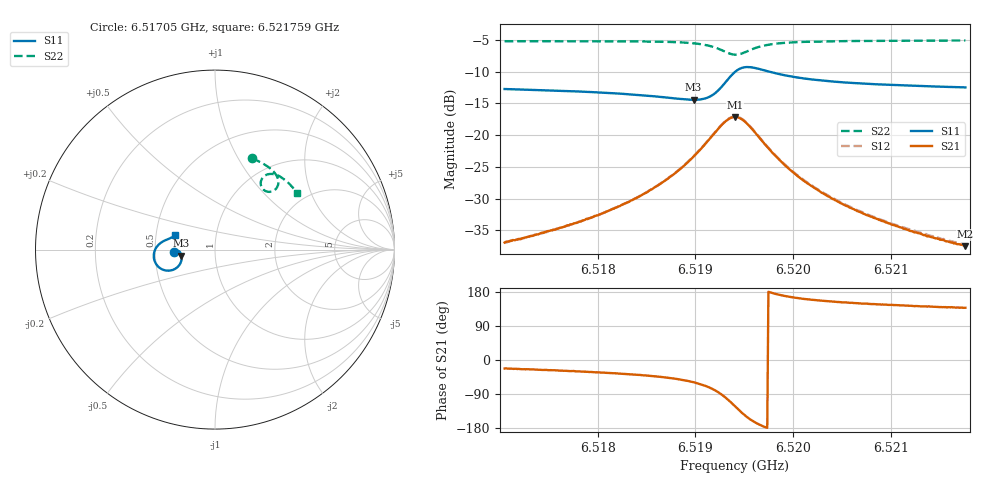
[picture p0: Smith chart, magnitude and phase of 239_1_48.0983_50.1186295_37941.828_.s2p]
#  HZ  S  RI  R  50.00
! Rohde & Schwarz Vector Network Analyzer
! Rohde-Schwarz,ZNB20-2Port,1311601062101988,3.16
! Created: UTC 12/23/2023, 3:58:33 AM
! freq[Hz]  re:S11  im:S11  re:S21  im:S21  re:S12  im:S12  re:S22  im:S22
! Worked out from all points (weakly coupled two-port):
!   401 points, 6.51705 GHz to 6.521759 GHz, reference 50 ohm
!   highest |S21| = -17.15 dB at 6.519404 GHz (marker M1); lowest = -37.5 dB at 6.521759 GHz (marker M2)
!   lowest |S11| = -14.4 dB at 6.51898 GHz (marker M3), VSWR 1.47, Z = 34.2 - j2.41 ohm
!   |S11| at or under -10 dB: start of sweep to 6.519408 GHz; 6.519753 GHz to end of sweep
!   |S22| runs from -7.3 to -5.1 dB; largest |S21 - S12| = 0.0042
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6.5170496e9  -0.23 -0.0161  0.0132 -0.00544  0.0134 -0.0049  0.2066 0.508
6.5174145e9  -0.2259 -0.0108  0.0152 -0.00738  0.0153 -0.00684  0.2334 0.4966
6.5178384e9  -0.2199 -0.00579  0.0182 -0.0107  0.0186 -0.0102  0.2648 0.4806
6.5183093e9  -0.2101 -0.00414  0.0235 -0.018  0.0241 -0.0173  0.3002 0.4577
6.5186272e9  -0.2003 -0.00884  0.0292 -0.0284  0.0303 -0.0275  0.3248 0.4363
6.5188038e9  -0.1934 -0.0168  0.0329 -0.039  0.0343 -0.0381  0.3386 0.4195
6.5189804e9  -0.1867 -0.034  0.0352 -0.0578  0.0372 -0.057  0.3503 0.3955
6.5190982e9  -0.1862 -0.0554  0.0318 -0.0787  0.0345 -0.078  0.353 0.3721
6.5191806e9  -0.1933 -0.0771  0.0221 -0.0982  0.0252 -0.0983  0.348 0.3517
6.5193101e9  -0.2365 -0.1136  -0.0218 -0.127  -0.0183 -0.1287  0.3149 0.3232
6.5193572e9  -0.2645 -0.1173  -0.0477 -0.1275  -0.0443 -0.1298  0.2945 0.3223
6.5194043e9  -0.2948 -0.1098  -0.0737 -0.1176  -0.0709 -0.1208  0.2746 0.3307
6.5194514e9  -0.3199 -0.0911  -0.0941 -0.0985  -0.092 -0.102  0.2603 0.3469
6.5195103e9  -0.3378 -0.0592  -0.1066 -0.069  -0.1053 -0.0725  0.2547 0.3715
6.5196162e9  -0.3367 -0.00841  -0.1001 -0.0256  -0.1002 -0.0287  0.2694 0.4048
6.5197222e9  -0.3202 0.0211  -0.0826 -0.00296  -0.0832 -0.00535  0.2924 0.4189
6.5199459e9  -0.289 0.046  -0.0538 0.012  -0.0546 0.0106  0.3316 0.4196
6.5201931e9  -0.2685 0.0553  -0.0368 0.0143  -0.0377 0.0135  0.3604 0.4081
6.520511e9  -0.2529 0.0615  -0.0252 0.0133  -0.026 0.0128  0.3872 0.3901
6.520982e9  -0.2389 0.0684  -0.0166 0.0114  -0.0171 0.0112  0.4182 0.3625
6.521347e9  -0.2314 0.0735  -0.0128 0.0102  -0.0133 0.01  0.4382 0.3401
6.521759e9  -0.224 0.0789  -0.0099 0.00897  -0.0104 0.00902  0.4586 0.3145
